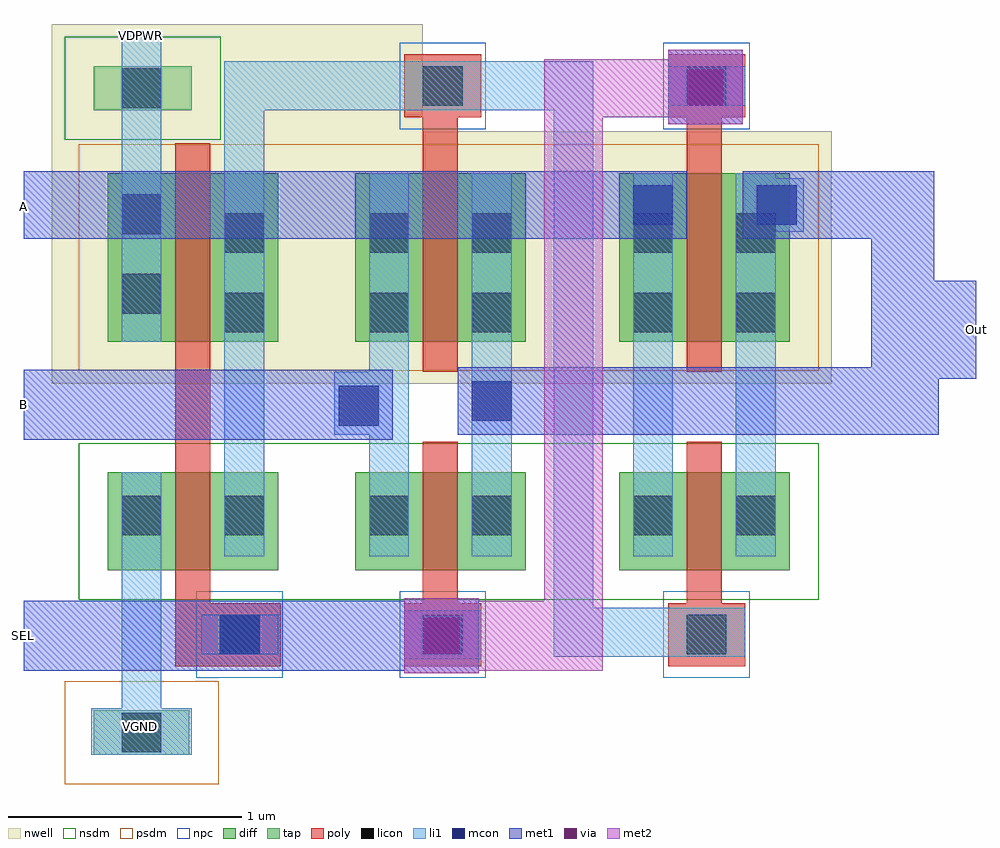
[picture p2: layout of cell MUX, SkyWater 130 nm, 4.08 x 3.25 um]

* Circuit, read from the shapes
.subckt MUX A B Out SEL VDPWR VGND
XM1 n1 SEL VGND VGND sky130_fd_pr__nfet_01v8 w=0.42 l=0.15
XM2 Out SEL B VGND sky130_fd_pr__nfet_01v8 w=0.42 l=0.15
XM3 Out n1 A VGND sky130_fd_pr__nfet_01v8 w=0.42 l=0.15
XM4 n1 SEL VDPWR VDPWR sky130_fd_pr__pfet_01v8 w=0.72 l=0.15
XM5 Out n1 B VDPWR sky130_fd_pr__pfet_01v8 w=0.72 l=0.15
XM6 Out SEL A VDPWR sky130_fd_pr__pfet_01v8 w=0.72 l=0.15
.ends

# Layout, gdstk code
import gdstk
lib = gdstk.Library(unit=1e-6, precision=1e-09)
def R(c, l, rs):  # rectangles x0, y0, x1, y1
    for r in rs: c.add(gdstk.rectangle(r[:2], r[2:], *l))
nwell = (64, 20)
diff = (65, 20)
tap = (65, 44)
poly = (66, 20)
licon = (66, 44)
li1 = (67, 20)
mcon = (67, 44)
met1 = (68, 20)
via = (68, 44)
met2 = (69, 20)
nsdm = (93, 44)
psdm = (94, 20)
npc = (95, 20)

mux = lib.new_cell('MUX')
R(mux, nwell, [(0.12,1.44,3.46,2.52), (0.12,2.52,1.71,2.98)])
R(mux, diff, [(0.36,0.64,1.09,1.06), (1.42,0.64,2.15,1.06), (2.55,0.64,3.28,1.06), (0.36,1.62,1.09,2.34), (1.42,1.62,2.15,2.34), (2.55,1.62,3.28,2.34)])
R(mux, tap, [(0.3,-0.15,0.71,0.04), (0.3,2.61,0.72,2.8)])
R(mux, poly, [(0.65,0.23,1.1,0.5), (1.63,0.23,1.96,0.5), (2.76,0.23,3.09,0.5), (0.65,0.5,0.8,2.47), (1.71,0.5,1.86,1.19), (2.84,0.5,2.99,1.19), (1.71,1.49,1.86,2.58), (2.84,1.49,2.99,2.58), (1.63,2.58,1.96,2.85), (2.76,2.58,3.09,2.85)])
R(mux, licon, [(0.42,-0.14,0.59,0.03), (0.84,0.28,1.01,0.45), (1.71,0.28,1.88,0.45), (2.84,0.28,3.01,0.45), (0.42,0.79,0.59,0.96), (0.86,0.79,1.03,0.96), (1.48,0.79,1.65,0.96), (1.92,0.79,2.09,0.96), (2.61,0.79,2.78,0.96), (3.05,0.79,3.22,0.96), (0.86,1.66,1.03,1.83), (1.48,1.66,1.65,1.83), (1.92,1.66,2.09,1.83), (2.61,1.66,2.78,1.83), (3.05,1.66,3.22,1.83), (0.42,1.74,0.59,1.91), (0.86,2,1.03,2.17), (1.48,2,1.65,2.17), (1.92,2,2.09,2.17), (2.61,2,2.78,2.17), (3.05,2,3.22,2.17), (0.42,2.08,0.59,2.25), (0.42,2.62,0.59,2.79), (1.71,2.63,1.88,2.8), (2.84,2.63,3.01,2.8)])
R(mux, li1, [(0.29,-0.15,0.72,0.05), (0.42,0.05,0.59,1.06), (1.63,0.26,1.96,0.47), (2.27,0.27,3.09,0.48), (0.76,0.28,1.09,0.45), (2.27,0.48,2.44,2.61), (0.86,0.7,1.03,2.61), (1.48,0.7,1.65,1.22), (1.92,0.7,2.09,2.34), (2.61,0.7,2.78,2.34), (3.05,0.7,3.22,2.09), (1.33,1.22,1.65,1.49), (1.48,1.49,1.65,2.34), (0.42,1.62,0.59,2.93), (3.05,2.09,3.34,2.32), (3.05,2.32,3.22,2.34), (0.86,2.61,2.44,2.82), (2.76,2.63,3.09,2.8)])
R(mux, mcon, [(0.84,0.28,1.01,0.45), (1.71,0.28,1.88,0.45), (1.35,1.26,1.52,1.43), (1.92,1.28,2.09,1.45), (2.61,2.12,2.78,2.29), (3.14,2.12,3.31,2.29), (2.84,2.63,3.01,2.8)])
R(mux, met1, [(1.63,0.2,1.95,0.21), (0,0.21,1.95,0.51), (1.63,0.51,1.95,0.52), (0,1.2,1.58,1.5), (1.86,1.22,3.92,1.46), (1.86,1.46,4.08,1.51), (3.63,1.51,4.08,1.88), (3.63,1.88,3.9,2.06), (0,2.06,2.84,2.35), (3.08,2.06,3.9,2.35), (2.76,2.55,3.08,2.87)])
R(mux, via, [(1.715,0.285,1.865,0.435), (2.845,2.635,2.995,2.785)])
R(mux, met2, [(1.63,0.2,1.95,0.21), (1.63,0.21,2.48,0.51), (1.63,0.51,1.95,0.52), (2.23,0.51,2.48,2.58), (2.76,2.55,3.08,2.58), (2.23,2.58,3.08,2.83), (2.76,2.83,3.08,2.87)])
R(mux, nsdm, [(0.235,0.515,3.405,1.185), (0.175,2.485,0.845,2.925)])
R(mux, psdm, [(0.175,-0.275,0.835,0.165), (0.235,1.495,3.405,2.465)])
R(mux, npc, [(0.74,0.18,1.11,0.55), (1.61,0.18,1.98,0.55), (2.74,0.18,3.11,0.55), (1.61,2.53,1.98,2.9), (2.74,2.53,3.11,2.9)])
mux.add(gdstk.Label('VGND', (0.5,-0.03), layer=67, texttype=5))
mux.add(gdstk.Label('VDPWR', (0.5,2.93), layer=67, texttype=5))
mux.add(gdstk.Label('SEL', (0,0.36), layer=68, texttype=5))
mux.add(gdstk.Label('A', (0,2.2), layer=68, texttype=5))
mux.add(gdstk.Label('B', (0,1.35), layer=68, texttype=5))
mux.add(gdstk.Label('Out', (4.08,1.67), layer=68, texttype=5))

lib.write_gds('MUX.gds')
